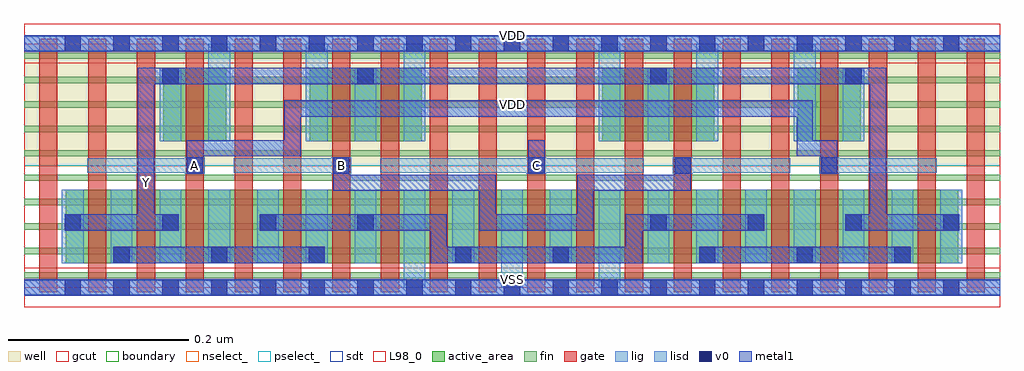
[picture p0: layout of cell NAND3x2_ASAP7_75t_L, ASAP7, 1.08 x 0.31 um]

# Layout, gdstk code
import gdstk
lib = gdstk.Library(unit=1e-6, precision=2.5e-10)
def R(c, l, rs):  # rectangles x0, y0, x1, y1
    for r in rs: c.add(gdstk.rectangle(r[:2], r[2:], *l))
def A(c, l, x, y, w, h, nx, ny, dx, dy):  # array of equal rectangles
    R(c, l, [(x+i*dx, y+j*dy, x+i*dx+w, y+j*dy+h) for i in range(nx) for j in range(ny)])
def P(c, l, *ps):  # polygons
    for p in ps: c.add(gdstk.Polygon(p, *l))
well = (1, 0)
fin = (2, 0)
gate = (7, 0)
gcut = (10, 0)
active_area = (11, 0)
nselect_ = (12, 0)
pselect_ = (13, 0)
lig = (16, 0)
lisd = (17, 0)
v0 = (18, 0)
metal1 = (19, 0)
sdt = (88, 0)
L98_0 = (98, 0)
boundary = (100, 0)

nand3x2_asap7_75t_l = lib.new_cell('NAND3x2_ASAP7_75t_L')
R(nand3x2_asap7_75t_l, well, [(0,0.135,1.08,0.27)])
A(nand3x2_asap7_75t_l, fin, 0, 0.01, 1.08, 0.007, 1, 10, 0, 0.027)
A(nand3x2_asap7_75t_l, gate, 0.017, -0.005, 0.02, 0.28, 20, 1, 0.054, 0)
R(nand3x2_asap7_75t_l, gcut, [(0,-0.022,1.08,0.022), (0,0.248,1.08,0.292)])
R(nand3x2_asap7_75t_l, active_area, [(0.046,0.027,1.034,0.108), (0.154,0.162,0.224,0.243), (0.316,0.162,0.44,0.243), (0.64,0.162,0.764,0.243), (0.856,0.162,0.926,0.243)])
R(nand3x2_asap7_75t_l, nselect_, [(0,0,1.08,0.135)])
R(nand3x2_asap7_75t_l, pselect_, [(0,0.135,1.08,0.27)])
A(nand3x2_asap7_75t_l, lig, 0.556, 0.126, 0.022, 0.018, 3, 1, 0.162, 0)
R(nand3x2_asap7_75t_l, lig, [(0,-0.008,1.08,0.008), (0.178,0.126,0.2,0.144), (0.34,0.126,0.362,0.144), (0.07,0.127,0.2,0.143), (0.232,0.127,0.362,0.143), (0.394,0.127,0.686,0.143), (0.718,0.127,0.848,0.143), (0.88,0.127,1.01,0.143), (0,0.262,1.08,0.278)])
A(nand3x2_asap7_75t_l, lisd, 0.042, 0.027, 0.024, 0.081, 7, 1, 0.054, 0)
A(nand3x2_asap7_75t_l, lisd, 0.474, 0.027, 0.024, 0.081, 3, 1, 0.108, 0)
A(nand3x2_asap7_75t_l, lisd, 0.744, 0.027, 0.024, 0.081, 6, 1, 0.054, 0)
R(nand3x2_asap7_75t_l, lisd, [(0.42,0,0.444,0.108), (0.42,0,0.444,0.108), (0.528,0,0.552,0.108), (0.528,0,0.552,0.108), (0.636,0,0.66,0.108), (0.636,0,0.66,0.108), (0.15,0.162,0.174,0.243), (0.204,0.162,0.228,0.27), (0.204,0.162,0.228,0.27), (0.312,0.162,0.336,0.27), (0.312,0.162,0.336,0.27), (0.366,0.162,0.39,0.243), (0.42,0.162,0.444,0.27), (0.42,0.162,0.444,0.27), (0.636,0.162,0.66,0.27), (0.636,0.162,0.66,0.27), (0.69,0.162,0.714,0.243), (0.744,0.162,0.768,0.27), (0.744,0.162,0.768,0.27), (0.852,0.162,0.876,0.27), (0.852,0.162,0.876,0.27), (0.906,0.162,0.93,0.243)])
A(nand3x2_asap7_75t_l, v0, 0.045, -0.009, 0.018, 0.018, 19, 2, 0.054, 0.27)
A(nand3x2_asap7_75t_l, v0, 0.099, 0.027, 0.018, 0.018, 3, 1, 0.108, 0)
A(nand3x2_asap7_75t_l, v0, 0.747, 0.027, 0.018, 0.018, 3, 1, 0.108, 0)
A(nand3x2_asap7_75t_l, v0, 0.045, 0.063, 0.018, 0.018, 4, 1, 0.108, 0)
A(nand3x2_asap7_75t_l, v0, 0.693, 0.063, 0.018, 0.018, 4, 1, 0.108, 0)
A(nand3x2_asap7_75t_l, v0, 0.558, 0.126, 0.018, 0.018, 3, 1, 0.162, 0)
R(nand3x2_asap7_75t_l, v0, [(0.477,0.027,0.495,0.045), (0.585,0.027,0.603,0.045), (0.18,0.126,0.198,0.144), (0.342,0.126,0.36,0.144), (0.153,0.225,0.171,0.243), (0.369,0.225,0.387,0.243), (0.693,0.225,0.711,0.243), (0.909,0.225,0.927,0.243)])
A(nand3x2_asap7_75t_l, metal1, 0.099, 0.027, 0.018, 0.018, 3, 1, 0.108, 0)
A(nand3x2_asap7_75t_l, metal1, 0.747, 0.027, 0.018, 0.018, 3, 1, 0.108, 0)
A(nand3x2_asap7_75t_l, metal1, 0.045, 0.063, 0.018, 0.018, 4, 1, 0.108, 0)
A(nand3x2_asap7_75t_l, metal1, 0.693, 0.063, 0.018, 0.018, 4, 1, 0.108, 0)
A(nand3x2_asap7_75t_l, metal1, 0.558, 0.126, 0.018, 0.018, 3, 1, 0.162, 0)
R(nand3x2_asap7_75t_l, metal1, [(0,-0.009,1.08,0.009), (0.099,0.027,0.333,0.045), (0.477,0.027,0.495,0.045), (0.585,0.027,0.603,0.045), (0.747,0.027,0.981,0.045), (0.18,0.126,0.198,0.144), (0.342,0.126,0.36,0.144), (0.558,0.126,0.576,0.163), (0.153,0.225,0.171,0.243), (0.369,0.225,0.387,0.243), (0.693,0.225,0.711,0.243), (0.909,0.225,0.927,0.243), (0,0.261,1.08,0.279)])
P(nand3x2_asap7_75t_l, metal1, [(1.035,0.081),(0.954,0.081),(0.954,0.243),(0.126,0.243),(0.126,0.081),(0.045,0.081),(0.045,0.063),(0.171,0.063),(0.171,0.081),(0.144,0.081),(0.144,0.225),(0.936,0.225),(0.936,0.081),(0.909,0.081),(0.909,0.063),(1.035,0.063)],
  [(0.882,0.126),(0.9,0.126),(0.9,0.163),(0.873,0.163),(0.873,0.207),(0.288,0.207),(0.288,0.163),(0.18,0.163),(0.18,0.126),(0.198,0.126),(0.198,0.145),(0.306,0.145),(0.306,0.189),(0.855,0.189),(0.855,0.145),(0.882,0.145)],
  [(0.738,0.144),(0.72,0.144),(0.72,0.125),(0.612,0.125),(0.612,0.081),(0.522,0.081),(0.522,0.125),(0.36,0.125),(0.36,0.144),(0.342,0.144),(0.342,0.107),(0.504,0.107),(0.504,0.063),(0.63,0.063),(0.63,0.107),(0.738,0.107)],
  [(0.819,0.081),(0.666,0.081),(0.666,0.045),(0.468,0.045),(0.468,0.081),(0.261,0.081),(0.261,0.063),(0.45,0.063),(0.45,0.027),(0.684,0.027),(0.684,0.063),(0.819,0.063)])
A(nand3x2_asap7_75t_l, sdt, 0.042, 0.027, 0.024, 0.081, 8, 1, 0.054, 0)
A(nand3x2_asap7_75t_l, sdt, 0.42, 0.027, 0.024, 0.081, 3, 1, 0.054, 0)
A(nand3x2_asap7_75t_l, sdt, 0.528, 0.027, 0.024, 0.081, 3, 1, 0.054, 0)
A(nand3x2_asap7_75t_l, sdt, 0.636, 0.027, 0.024, 0.081, 8, 1, 0.054, 0)
A(nand3x2_asap7_75t_l, sdt, 0.312, 0.162, 0.024, 0.081, 3, 1, 0.054, 0)
A(nand3x2_asap7_75t_l, sdt, 0.636, 0.162, 0.024, 0.081, 3, 1, 0.054, 0)
R(nand3x2_asap7_75t_l, sdt, [(0.15,0.162,0.174,0.243), (0.204,0.162,0.228,0.243), (0.204,0.162,0.228,0.243), (0.312,0.162,0.336,0.243), (0.42,0.162,0.444,0.243), (0.636,0.162,0.66,0.243), (0.744,0.162,0.768,0.243), (0.852,0.162,0.876,0.243), (0.852,0.162,0.876,0.243), (0.906,0.162,0.93,0.243)])
R(nand3x2_asap7_75t_l, L98_0, [(0,0,1.08,0.27)])
R(nand3x2_asap7_75t_l, boundary, [(0,0,1.08,0.27)])
nand3x2_asap7_75t_l.add(gdstk.Label('VDD', (0.54,0.2025), layer=1, texttype=251))
nand3x2_asap7_75t_l.add(gdstk.Label('VSS', (0.54,-0.0675), layer=3, texttype=251))
nand3x2_asap7_75t_l.add(gdstk.Label('VSS', (0.54,0.009), layer=19, texttype=251))
nand3x2_asap7_75t_l.add(gdstk.Label('VDD', (0.54,0.279), layer=19, texttype=251))
nand3x2_asap7_75t_l.add(gdstk.Label('Y', (0.135,0.116), layer=19, texttype=251))
nand3x2_asap7_75t_l.add(gdstk.Label('A', (0.189,0.135), layer=19, texttype=251))
nand3x2_asap7_75t_l.add(gdstk.Label('B', (0.351,0.135), layer=19, texttype=251))
nand3x2_asap7_75t_l.add(gdstk.Label('C', (0.567,0.135), layer=19, texttype=251))

lib.write_gds('NAND3x2_ASAP7_75t_L.gds')
